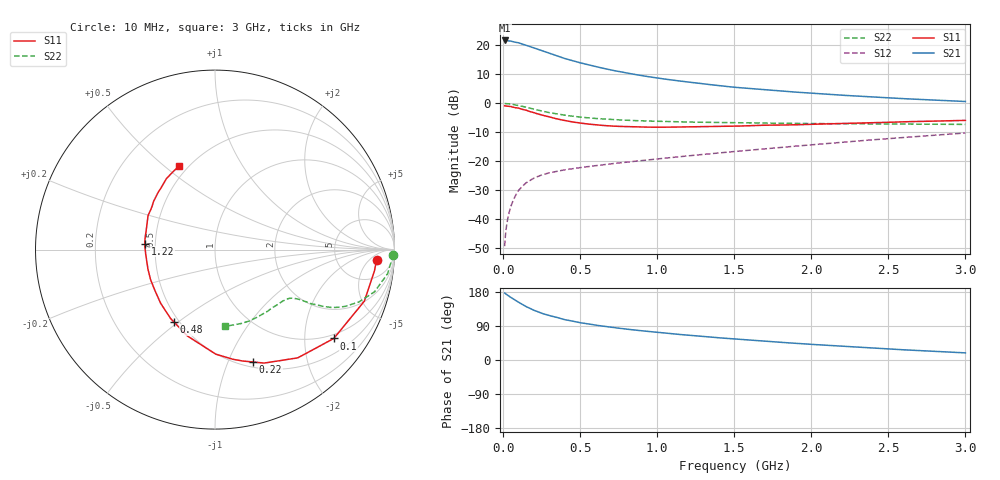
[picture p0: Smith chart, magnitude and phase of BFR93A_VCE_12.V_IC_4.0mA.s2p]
! Infineon Technologies  Discrete & RF Semiconductors
! BFR93A
! VCE =  12. V,  IC =  4.0 mA
! Common Emitter S-Parameters:  Nov 2015
# GHz  S  MA  R  50
!  f  S11  S21  S12  S22
! GHz  MAG  ANG  MAG  ANG  MAG  ANG  MAG  ANG
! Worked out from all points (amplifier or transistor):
!   180 points, 10 MHz to 3 GHz, reference 50 ohm
!   highest |S21| = 21.7 dB at 10 MHz (marker M1)
!   |S21| within 3 dB of that: start of sweep to 222.9 MHz
!   unconditionally stable (mu >= 1): 837.7 MHz to 2.509 GHz
!   at 160 MHz: K = 0.29, MSG = 23.5 dB, |S12| = -27.1 dB
!   at 1.22 GHz: K = 1.11, MAG = 10.6 dB, |S12| = -18.1 dB
!   at 3 GHz: K = 0.92, MSG = 5.4 dB, |S12| = -10.3 dB
!   S11 on the Smith chart (normalised r, x): 10 MHz: 14, -9; 100 MHz: 0.88, -2.75; 220 MHz: 0.56, -1.24; 480 MHz: 0.47, -0.48; 1.22 GHz: 0.44, +0.03; 3 GHz: 0.45, +0.56
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0.01  0.9019 -3.8  12.16 176.7  0.0034 85.7  0.9908 -1.6
0.015  0.8985 -5.7  12.14 175.2  0.0051 84.8  0.9889 -2.4
0.025  0.8911 -9.5  12.06 172.3  0.0084 82.6  0.9839 -4.0
0.05  0.8804 -19.0  11.86 165.1  0.0164 78.8  0.9706 -8.0
0.1  0.8267 -36.8  11.09 152.4  0.0311 70.8  0.9195 -14.8
0.15  0.7591 -52.6  10.07 140.7  0.0423 63.4  0.8535 -20.0
0.2  0.6888 -66.6  9.068 131.3  0.0509 58.6  0.7908 -23.6
0.22  0.6614 -71.2  8.668 128.3  0.0536 56.9  0.7681 -24.6
0.26  0.6182 -80.9  7.945 122.1  0.0587 54.2  0.7254 -26.4
0.3  0.5825 -89.6  7.292 117.0  0.0628 52.4  0.6887 -27.5
0.4  0.5052 -107.7  5.942 106.4  0.0708 50.0  0.6203 -29.2
0.48  0.4634 -119.6  5.179 100.2  0.0762 49.4  0.5849 -29.8
0.52  0.4486 -125.2  4.854 97.3  0.0787 49.3  0.57 -30.1
0.6  0.4257 -135.3  4.294 91.9  0.0835 49.5  0.5456 -30.6
0.7  0.405 -145.7  3.755 86.3  0.09 50.6  0.5248 -31.3
0.9  0.389 -163.9  2.999 77.1  0.1023 52.7  0.4965 -33.1
1.02  0.386 -172.4  2.684 72.2  0.1105 53.8  0.4869 -34.5
1.22  0.3924 175.2  2.295 64.7  0.125 55.8  0.4728 -37.6
1.52  0.4031 160.5  1.873 54.8  0.1483 57.8  0.4593 -43.0
2.02  0.4355 141.5  1.482 40.8  0.1936 59.0  0.446 -54.2
2.52  0.4711 126.5  1.234 28.9  0.2474 57.6  0.4389 -67.2
3  0.5063 113.3  1.073 18.8  0.3062 54.5  0.4314 -82.3
